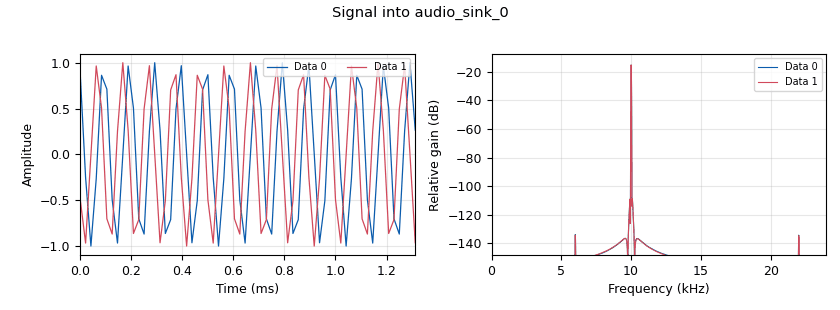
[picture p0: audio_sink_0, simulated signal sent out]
<?xml version='1.0' encoding='utf-8'?>
<flow_graph>
<block>
<key>options</key>
<param><key>id</key><value>top_block</value></param>
<param><key>generate_options</key><value>wx_gui</value></param>
<param><key>category</key><value>Custom</value></param>
</block>
<block>
<key>variable</key>
<param><key>id</key><value>samp_rate</value></param>
<param><key>value</key><value>48000</value></param>
</block>
<block>
<key>analog_sig_source_x</key>
<param><key>id</key><value>analog_sig_source_x_0</value></param>
<param><key>type</key><value>complex</value></param>
<param><key>samp_rate</key><value>samp_rate</value></param>
<param><key>waveform</key><value>analog.GR_COS_WAVE</value></param>
<param><key>freq</key><value>10000</value></param>
<param><key>amp</key><value>1</value></param>
<param><key>offset</key><value>0</value></param>
</block>
<block>
<key>blocks_complex_to_float</key>
<param><key>id</key><value>blocks_complex_to_float_0</value></param>
</block>
<block>
<key>audio_sink</key>
<param><key>id</key><value>audio_sink_0</value></param>
<param><key>samp_rate</key><value>samp_rate</value></param>
<param><key>num_inputs</key><value>2</value></param>
</block>
<connection><source_block_id>analog_sig_source_x_0</source_block_id><sink_block_id>blocks_complex_to_float_0</sink_block_id><source_key>0</source_key><sink_key>0</sink_key></connection>
<connection><source_block_id>blocks_complex_to_float_0</source_block_id><sink_block_id>audio_sink_0</sink_block_id><source_key>1</source_key><sink_key>0</sink_key></connection>
<connection><source_block_id>blocks_complex_to_float_0</source_block_id><sink_block_id>audio_sink_0</sink_block_id><source_key>0</source_key><sink_key>1</sink_key></connection>
</flow_graph>
